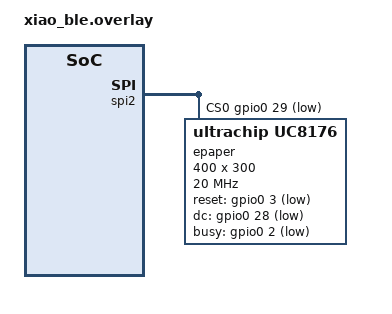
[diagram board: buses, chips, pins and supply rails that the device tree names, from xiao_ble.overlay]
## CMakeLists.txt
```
cmake_minimum_required(VERSION 3.20.0)

set(ZEPHYR_INCLUDE_DIR "C:/ncs/v2.4.2/zephyr/include/zephyr")
set(LIB_DIR lib)

find_package(Zephyr REQUIRED HINTS $ENV{ZEPHYR_BASE})
include_directories(${ZEPHYR_INCLUDE_DIR} ${LIB_DIR})

project(air_quality)
set(SRC_MAIN src/main.c)

target_sources(app PRIVATE ${SRC_MAIN})
```

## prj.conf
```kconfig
CONFIG_SPI=y
CONFIG_I2C=y
CONFIG_DISPLAY=y
CONFIG_KERNEL_MEM_POOL=y
CONFIG_HEAP_MEM_POOL_SIZE=130000
```

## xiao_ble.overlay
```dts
/*

&i2c1 {

    scd40: scd40@62{
        compatible = "sensiron,sgp40";
        reg = < 0x62>;
        label = "scd40";
    };
};

*/

&spi2 {

    cs-gpios = < &gpio0 29 GPIO_ACTIVE_LOW>;

    epaper: epaper@0{
        compatible = "ultrachip,uc8176";
        reset-gpios = < &gpio0 3 GPIO_ACTIVE_LOW >;
        dc-gpios = < &gpio0 28 GPIO_ACTIVE_LOW >;
        busy-gpios = < &gpio0 2 GPIO_ACTIVE_LOW >;
        height = < 300 >;
        width = < 400 >;
        spi-max-frequency = < 20000000 >;
        reg = < 0 >;
    };
};
```

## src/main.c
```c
#include <kernel.h>
#include <drivers/spi.h>

#define SPI_MODE        SPI_OP_MODE_MASTER | SPI_WORD_SET(8) | SPI_TRANSFER_MSB
#define I2C1_NODE       DT_NODELABEL(i2c1)


int main()
{
    return 0;
}
```
